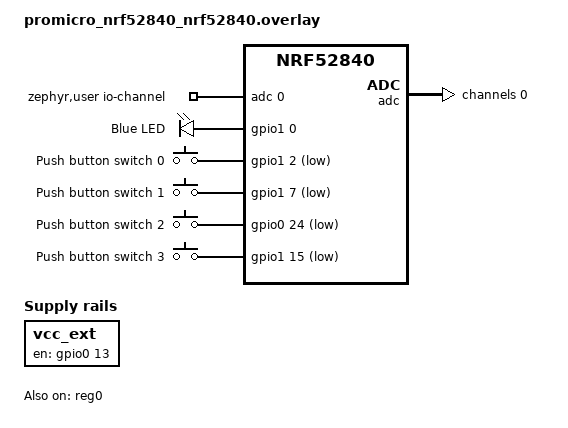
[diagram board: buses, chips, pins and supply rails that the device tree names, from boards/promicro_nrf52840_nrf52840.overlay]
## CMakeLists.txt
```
cmake_minimum_required(VERSION 3.20.0)

find_package(Zephyr REQUIRED HINTS $ENV{ZEPHYR_BASE})

project("zigbee-scene-controller")

include(cmake/GitVersion.cmake)
git_version_info(
  VERSION FW_VERSION
  MAJOR FW_VERSION_MAJOR
  MINOR FW_VERSION_MINOR
  PATCH FW_VERSION_PATCH
  COMMIT_HASH FW_COMMIT_HASH
  IS_DIRTY FW_IS_DIRTY
)

set(FW_VERSION_FULL "${FW_VERSION}+${FW_COMMIT_HASH}")
if(FW_IS_DIRTY)
  string(APPEND FW_VERSION_FULL "-d")
endif()

string(LENGTH "${FW_VERSION_FULL}" FW_VERSION_FULL_LEN)
if(FW_VERSION_FULL_LEN GREATER 16)
  message(WARNING "Version '${FW_VERSION_FULL}' is ${FW_VERSION_FULL_LEN} characters, "
                  "SWBuildID will be truncated to 16")
endif()

execute_process(
  COMMAND ${GIT_EXECUTABLE} -C ${CMAKE_CURRENT_SOURCE_DIR}
          show -s --format=%cd --date=format:%Y%m%d HEAD
  OUTPUT_VARIABLE FW_COMMIT_DATE
  OUTPUT_STRIP_TRAILING_WHITESPACE
  ERROR_QUIET
)

message(STATUS "Application version: ${FW_VERSION_FULL} (${FW_COMMIT_DATE})")

target_compile_definitions(app PRIVATE
  FW_VERSION_MAJOR=${FW_VERSION_MAJOR}
  FW_VERSION_MINOR=${FW_VERSION_MINOR}
  FW_VERSION_PATCH=${FW_VERSION_PATCH}
  FW_VERSION_FULL="${FW_VERSION_FULL}"
  FW_COMMIT_DATE="${FW_COMMIT_DATE}"
)

target_sources(app PRIVATE
  src/main.c
  src/zigbee.c
  src/led.c
  src/battery.c
  src/button.c
  src/secret_buttons.c
)

if(NOT CONFIG_USB_DEVICE_STACK AND NOT CONFIG_USB_DEVICE_STACK_NEXT)
  target_sources(app PRIVATE src/usbd_reset.c)
endif()
```

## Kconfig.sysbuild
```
#
# Copyright (c) 2024 Nordic Semiconductor
#
# SPDX-License-Identifier: LicenseRef-Nordic-5-Clause
#

source "${ZEPHYR_BASE}/share/sysbuild/Kconfig"

config NRF_DEFAULT_IPC_RADIO
    default y

if BOOTLOADER_MCUBOOT

#### DFU multi-image support
config DFU_MULTI_IMAGE_PACKAGE_BUILD
    default y

config DFU_MULTI_IMAGE_PACKAGE_APP
    default y

endif # BOOTLOADER_MCUBOOT
```

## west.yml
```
manifest:
  remotes:
    - name: ncs
      url-base: https://github.com/nrfconnect
  projects:
    - name: zephyr
      url: git@github.com:mczerski/zephyr.git
      revision: a81b9eb5c571412a268d925884be5791423fe825
      west-commands: scripts/west-commands.yml
      import:
        name-allowlist:
          - cmsis_6
          - hal_nordic
          - picolibc
    - name: ncs-zigbee
      repo-path: ncs-zigbee
      remote: ncs
      revision: v1.4.0
      import:
        name-allowlist:
          # Core repositories
          - nrf
          - zephyr
          # Zephyr modules
          - cmsis_6
          - hal_nordic
          - picolibc
          #- zcbor               # used by MCUboot serial recovery / mcumgr
          # Crypto
          - mbedtls
          - oberon-psa-crypto
          - nrfxlib
          # Bootloader
          #- mcuboot
  self:
    path: zigbee-scene-controller
```

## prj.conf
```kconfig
CONFIG_USE_DT_CODE_PARTITION=y
CONFIG_GPIO=y
CONFIG_LED=y
CONFIG_ADC=y
CONFIG_REBOOT=y
CONFIG_RETAINED_MEM=y
CONFIG_INPUT=y
CONFIG_INPUT_LONGPRESS=y
CONFIG_INPUT_DOUBLE_TAP=y

CONFIG_HEAP_MEM_POOL_SIZE=2048
CONFIG_RESET_ON_FATAL_ERROR=y

CONFIG_ZIGBEE_ADD_ON=y
CONFIG_ZIGBEE_APP_UTILS=y
CONFIG_ZIGBEE_ROLE_END_DEVICE=y
CONFIG_ZIGBEE_CHANNEL_SELECTION_MODE_MULTI=y

# This example requires more workqueue stack
CONFIG_SYSTEM_WORKQUEUE_STACK_SIZE=2048

# Enable API for powering down unused RAM parts
CONFIG_RAM_POWER_DOWN_LIBRARY=y

# Networking
CONFIG_NET_IPV6=n
CONFIG_NET_IP_ADDR_CHECK=n
CONFIG_NET_UDP=n

# Logging
CONFIG_SERIAL=n
CONFIG_CONSOLE=n
```

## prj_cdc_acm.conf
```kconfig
CONFIG_USE_DT_CODE_PARTITION=y
CONFIG_GPIO=y
CONFIG_LED=y
CONFIG_ADC=y
CONFIG_REBOOT=y
CONFIG_RETAINED_MEM=y
CONFIG_INPUT=y
CONFIG_INPUT_LONGPRESS=y
CONFIG_INPUT_DOUBLE_TAP=y

CONFIG_HEAP_MEM_POOL_SIZE=2048
CONFIG_RESET_ON_FATAL_ERROR=y

CONFIG_ZIGBEE_ADD_ON=y
CONFIG_ZIGBEE_APP_UTILS=y
CONFIG_ZIGBEE_ROLE_END_DEVICE=y
CONFIG_ZIGBEE_CHANNEL_SELECTION_MODE_MULTI=y
CONFIG_ZBOSS_OSIF_LOG_LEVEL_DBG=n

# This example requires more workqueue stack
CONFIG_SYSTEM_WORKQUEUE_STACK_SIZE=2048

# Enable API for powering down unused RAM parts
CONFIG_RAM_POWER_DOWN_LIBRARY=y

# Networking
CONFIG_NET_IPV6=n
CONFIG_NET_IP_ADDR_CHECK=n
CONFIG_NET_UDP=n

# Logging
CONFIG_UART_INTERRUPT_DRIVEN=y
CONFIG_SERIAL=y
CONFIG_CONSOLE=y
CONFIG_UART_CONSOLE=y
CONFIG_LOG=y
CONFIG_LOG_MODE_MINIMAL=y
```

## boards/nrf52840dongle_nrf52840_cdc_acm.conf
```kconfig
CONFIG_BOARD_SERIAL_BACKEND_CDC_ACM=y
```

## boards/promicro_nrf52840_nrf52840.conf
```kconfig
CONFIG_BOARD_SERIAL_BACKEND_CDC_ACM=n
CONFIG_REGULATOR=y
CONFIG_REGULATOR_FIXED=y

# Build UF2 by default, supported by the Adafruit nRF52 Bootloader
CONFIG_BUILD_OUTPUT_UF2=y
```

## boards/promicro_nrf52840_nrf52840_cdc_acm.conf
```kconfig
CONFIG_BOARD_SERIAL_BACKEND_CDC_ACM=y
CONFIG_REGULATOR=y
CONFIG_REGULATOR_FIXED=y

# Build UF2 by default, supported by the Adafruit nRF52 Bootloader
CONFIG_BUILD_OUTPUT_UF2=y
```

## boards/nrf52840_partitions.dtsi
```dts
/delete-node/ &boot_partition;
/delete-node/ &slot0_partition;
/delete-node/ &slot1_partition;
/delete-node/ &storage_partition;

&flash0 {
	partitions {
		slot0_partition: partition@1000 {
			label = "image-0";
			reg = <0x00001000 0x000d6000>;
		};

		zboss_nvram: partition@d7000 {
			compatible = "zephyr,mapped-partition";
			label = "zboss-nvram";
			reg = <0x000d7000 0x00008000>;
		};

		zboss_product_config: partition@df000 {
			compatible = "zephyr,mapped-partition";
			label = "zboss-product-config";
			reg = <0x000df000 0x00001000>;
		};
	};
};

/* Recreated rather than patched in place: overriding only the reg of
 * memory@20000000 leaves the node name disagreeing with its unit address,
 * which dtc reports as a simple_bus_reg warning.
 */
/delete-node/ &sram0;

/ {
	soc {
		sram0: memory@20000400 {
			compatible = "mmio-sram";
			reg = <0x20000400 0x0003fc00>;
			ranges = <0x0 0x20000400 0x0003fc00>;
			#address-cells = <1>;
			#size-cells = <1>;
		};
	};
};
```

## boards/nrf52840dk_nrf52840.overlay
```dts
/*
 * Copyright (c) 2025 Nordic Semiconductor ASA
 *
 * SPDX-License-Identifier: LicenseRef-Nordic-5-Clause
 */
/ {
    chosen {
        ncs,zigbee-timer = &timer2;
    };
};

&timer2 {
    status = "okay";
};
```

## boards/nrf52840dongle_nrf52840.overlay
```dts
#include "nrf52840_partitions.dtsi"

/ {
    zephyr,user {
        io-channels = <&adc 0>;
    };

    buttons {
        compatible = "gpio-keys";
        button1: button_1 {
            gpios = <&gpio0 31 (GPIO_PULL_UP | GPIO_ACTIVE_LOW)>;
            label = "Push button switch 1";
            zephyr,code = <2>;
        };
        button2: button_2 {
            gpios = <&gpio0 29 (GPIO_PULL_UP | GPIO_ACTIVE_LOW)>;
            label = "Push button switch 2";
            zephyr,code = <3>;
        };
        button3: button_3 {
            gpios = <&gpio0 2 (GPIO_PULL_UP | GPIO_ACTIVE_LOW)>;
            label = "Push button switch 3";
            zephyr,code = <4>;
        };
    };
    longpress {
        compatible = "zephyr,input-longpress";
        input-codes = <1>, <2>, <3>, <4>;
        short-codes = <(0x10 + 1)>, <(0x10 + 2)>, <(0x10 + 3)>, <(0x10 + 4)>;
        long-codes = <(0x20 + 1)>, <(0x20 + 2)>, <(0x20 + 3)>, <(0x20 + 4)>;
        long-delay-ms = <1000>;
        status = "okay";
    };
    double_tap {
        compatible = "zephyr,input-double-tap";
        input-codes = <1>, <2>, <3>, <4>;
        single-tap-codes = <(0x30 + 1)>, <(0x30 + 2)>, <(0x30 + 3)>, <(0x30 + 4)>;
        double-tap-codes = <(0x40 + 1)>, <(0x40 + 2)>, <(0x40 + 3)>, <(0x40 + 4)>;
        double-tap-delay-ms = <250>;
    };
    very_longpress: very_longpress {
        compatible = "zephyr,input-longpress";
        input-codes = <1>, <2>, <3>, <4>;
        long-codes = <(0xF0 + 1)>, <(0xF0 + 2)>, <(0xF0 + 3)>, <(0xF0 + 4)>;
        long-delay-ms = <5000>;
        status = "okay";
    };
};

&adc {
    #address-cells = <1>;
    #size-cells = <0>;

    channel@0 {
        reg = <0>;
        zephyr,gain = "ADC_GAIN_1_6";
        zephyr,reference = "ADC_REF_INTERNAL";
        zephyr,acquisition-time = <ADC_ACQ_TIME(ADC_ACQ_TIME_MICROSECONDS, 40)>;
        zephyr,input-positive = <NRF_SAADC_VDD>;
        zephyr,resolution = <14>;
        zephyr,oversampling = <8>;
    };
};

&button0 {
    zephyr,code = <1>;
};

&gpio0 {
    sense-edge-mask = <0xffffffff>;
};

&gpio1 {
    sense-edge-mask = <0xffffffff>;
};
```

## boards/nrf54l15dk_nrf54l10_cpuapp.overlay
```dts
/*
 * Copyright (c) 2024 Nordic Semiconductor ASA
 *
 * SPDX-License-Identifier: LicenseRef-Nordic-5-Clause
 */


/ {

    chosen {
        ncs,zigbee-timer = &timer20;
    };

    pwmleds {
        compatible = "pwm-leds";
        pwm_led3: pwm_led_3 {
            pwms = <&pwm20 1 PWM_MSEC(20) PWM_POLARITY_NORMAL>;
        };
    };
};

// restore full RRAM and SRAM space - by default some parts are dedicated to FLPR
&cpuapp_rram {
    reg = <0x0 DT_SIZE_K(1022)>;
};

&cpuapp_sram {
    reg = <0x20000000 DT_SIZE_K(192)>;
    ranges = <0x0 0x20000000  DT_SIZE_K(192)>;
};

// TODO: re-enable HWFC once it's fixed
&uart20 {
    /delete-property/ hw-flow-control;
};

&pwm20 {
    status = "okay";
    pinctrl-0 = <&pwm_default>;
    pinctrl-1 = <&pwm_sleep>;
    pinctrl-names = "default", "sleep";
};

&pinctrl {
    pwm_default: pwm_default {
        group1 {
            psels = <NRF_PSEL(PWM_OUT1, 1, 10)>;
        };
    };
    pwm_sleep: pwm_sleep {
        group1 {
            psels = <NRF_PSEL(PWM_OUT1, 1, 10)>;
            low-power-enable;
        };
    };
};

&timer20 {
    status = "okay";
};
```

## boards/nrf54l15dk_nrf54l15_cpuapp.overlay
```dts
/*
 * Copyright (c) 2024 Nordic Semiconductor ASA
 *
 * SPDX-License-Identifier: LicenseRef-Nordic-5-Clause
 */


/ {

    chosen {
        ncs,zigbee-timer = &timer20;
    };

    pwmleds {
        compatible = "pwm-leds";
        pwm_led3: pwm_led_3 {
            pwms = <&pwm20 1 PWM_MSEC(20) PWM_POLARITY_NORMAL>;
        };
    };
};

// restore full RRAM and SRAM space - by default some parts are dedicated to FLRP
&cpuapp_rram {
    reg = <0x0 DT_SIZE_K(1524)>;
};

&cpuapp_sram {
    reg = <0x20000000 DT_SIZE_K(256)>;
    ranges = <0x0 0x20000000  0x40000>;
};

// TODO: re-enable HWFC once it's fixed
&uart20 {
    /delete-property/ hw-flow-control;
};

&pwm20 {
    status = "okay";
    pinctrl-0 = <&pwm_default>;
    pinctrl-1 = <&pwm_sleep>;
    pinctrl-names = "default", "sleep";
};

&pinctrl {
    pwm_default: pwm_default {
        group1 {
            psels = <NRF_PSEL(PWM_OUT1, 1, 10)>;
        };
    };
    pwm_sleep: pwm_sleep {
        group1 {
            psels = <NRF_PSEL(PWM_OUT1, 1, 10)>;
            low-power-enable;
        };
    };
};

&timer20 {
    status = "okay";
};
```

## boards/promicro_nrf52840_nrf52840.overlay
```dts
#include "nrf52840_partitions.dtsi"

/ {
    zephyr,user {
        io-channels = <&adc 0>;
    };
    vcc_ext: regulator-vcc-ext {
        compatible = "regulator-fixed";
        regulator-name = "EXT PWR";
        enable-gpios = <&gpio0 13 GPIO_ACTIVE_HIGH>;
        status = "okay";
    };
    leds {
        compatible = "gpio-leds";
        led1: led_1 {
            gpios = <&gpio1 0 GPIO_ACTIVE_HIGH>;
            label = "Blue LED";
        };
    };
    buttons {
        compatible = "gpio-keys";
        button0: button_0 {
            gpios = <&gpio1 2 (GPIO_PULL_UP | GPIO_ACTIVE_LOW)>;
            label = "Push button switch 0";
            zephyr,code = <1>;
        };
        button1: button_1 {
            gpios = <&gpio1 7 (GPIO_PULL_UP | GPIO_ACTIVE_LOW)>;
            label = "Push button switch 1";
            zephyr,code = <2>;
        };
        button2: button_2 {
            gpios = <&gpio0 24 (GPIO_PULL_UP | GPIO_ACTIVE_LOW)>;
            label = "Push button switch 2";
            zephyr,code = <3>;
        };
        button3: button_3 {
            gpios = <&gpio1 15 (GPIO_PULL_UP | GPIO_ACTIVE_LOW)>;
            label = "Push button switch 3";
            zephyr,code = <4>;
        };
    };
    aliases {
        led1 = &led1;
        sw0 = &button0;
        sw1 = &button1;
        sw2 = &button2;
        sw3 = &button3;
        mcuboot-button0 = &button0;
        bootloader-led0 = &led0;
    };
    longpress {
        compatible = "zephyr,input-longpress";
        input-codes = <1>, <2>, <3>, <4>;
        short-codes = <(0x10 + 1)>, <(0x10 + 2)>, <(0x10 + 3)>, <(0x10 + 4)>;
        long-codes = <(0x20 + 1)>, <(0x20 + 2)>, <(0x20 + 3)>, <(0x20 + 4)>;
        long-delay-ms = <1000>;
        status = "okay";
    };
    double_tap {
        compatible = "zephyr,input-double-tap";
        input-codes = <1>, <2>, <3>, <4>;
        single-tap-codes = <(0x30 + 1)>, <(0x30 + 2)>, <(0x30 + 3)>, <(0x30 + 4)>;
        double-tap-codes = <(0x40 + 1)>, <(0x40 + 2)>, <(0x40 + 3)>, <(0x40 + 4)>;
        double-tap-delay-ms = <250>;
    };
    very_longpress: very_longpress {
        compatible = "zephyr,input-longpress";
        input-codes = <1>, <2>, <3>, <4>;
        long-codes = <(0xF0 + 1)>, <(0xF0 + 2)>, <(0xF0 + 3)>, <(0xF0 + 4)>;
        long-delay-ms = <5000>;
        status = "okay";
    };
};

&adc {
    #address-cells = <1>;
    #size-cells = <0>;

    channel@0 {
        reg = <0>;
        zephyr,gain = "ADC_GAIN_1_2";
        zephyr,reference = "ADC_REF_INTERNAL";
        zephyr,acquisition-time = <ADC_ACQ_TIME(ADC_ACQ_TIME_MICROSECONDS, 40)>;
        zephyr,input-positive = <NRF_SAADC_VDDHDIV5>;
        zephyr,resolution = <14>;
        zephyr,oversampling = <8>;
    };
};

&reg0 {
    status = "okay";
};

&reg1 {
    regulator-initial-mode = <NRF5X_REG_MODE_DCDC>;
};

&gpio0 {
    sense-edge-mask = <0xffffffff>;
};

&gpio1 {
    sense-edge-mask = <0xffffffff>;
};
```

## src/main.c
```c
#include <zephyr/kernel.h>
#include <zephyr/logging/log.h>
#include <zephyr/version.h>
#include <zboss_api.h>

#include "zigbee.h"
#include "battery.h"


LOG_MODULE_REGISTER(app, LOG_LEVEL_INF);

int main(void)
{
    LOG_INF("Starting Zigbee R23 Scene Switch %s", FW_VERSION_FULL);
    LOG_INF("Built from commit of %s, Zephyr %s, ZBOSS %d.%d",
            FW_COMMIT_DATE, KERNEL_VERSION_STRING, ZBOSS_MAJOR, ZBOSS_MINOR);

    configure_battery();
    configure_zigbee();

    LOG_INF("Zigbee R23 Scene Switch started");

    k_sleep(K_FOREVER);
    return 0;
}
```

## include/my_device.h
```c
#define ZB_HA_DECLARE_MY_DEVICE_CLUSTER_LIST(                                   \
      cluster_list_name,                                                        \
      on_off_switch_config_attr_list,                                           \
      basic_attr_list,                                                          \
      identify_attr_list,                                                       \
      power_config_attr_list)                                                   \
      zb_zcl_cluster_desc_t cluster_list_name[] =                               \
      {                                                                         \
          ZB_ZCL_CLUSTER_DESC(                                                  \
              ZB_ZCL_CLUSTER_ID_ON_OFF_SWITCH_CONFIG,                           \
              ZB_ZCL_ARRAY_SIZE(on_off_switch_config_attr_list, zb_zcl_attr_t), \
              (on_off_switch_config_attr_list),                                 \
              ZB_ZCL_CLUSTER_SERVER_ROLE,                                       \
              ZB_ZCL_MANUF_CODE_INVALID                                         \
          ),                                                                    \
          ZB_ZCL_CLUSTER_DESC(                                                  \
              ZB_ZCL_CLUSTER_ID_IDENTIFY,                                       \
              ZB_ZCL_ARRAY_SIZE(identify_attr_list, zb_zcl_attr_t),             \
              (identify_attr_list),                                             \
              ZB_ZCL_CLUSTER_SERVER_ROLE,                                       \
              ZB_ZCL_MANUF_CODE_INVALID                                         \
          ),                                                                    \
          ZB_ZCL_CLUSTER_DESC(                                                  \
              ZB_ZCL_CLUSTER_ID_BASIC,                                          \
              ZB_ZCL_ARRAY_SIZE(basic_attr_list, zb_zcl_attr_t),                \
              (basic_attr_list),                                                \
              ZB_ZCL_CLUSTER_SERVER_ROLE,                                       \
              ZB_ZCL_MANUF_CODE_INVALID                                         \
          ),                                                                    \
          ZB_ZCL_CLUSTER_DESC(                                                  \
              ZB_ZCL_CLUSTER_ID_POWER_CONFIG,                                   \
              ZB_ZCL_ARRAY_SIZE(power_config_attr_list, zb_zcl_attr_t),         \
              (power_config_attr_list),                                         \
              ZB_ZCL_CLUSTER_SERVER_ROLE,                                       \
              ZB_ZCL_MANUF_CODE_INVALID                                         \
          ),                                                                    \
          ZB_ZCL_CLUSTER_DESC(                                                  \
              ZB_ZCL_CLUSTER_ID_ON_OFF,                                         \
              0,                                                                \
              NULL,                                                             \
              ZB_ZCL_CLUSTER_CLIENT_ROLE,                                       \
              ZB_ZCL_MANUF_CODE_INVALID                                         \
          ),                                                                    \
          ZB_ZCL_CLUSTER_DESC(                                                  \
              ZB_ZCL_CLUSTER_ID_SCENES,                                         \
              0,                                                                \
              NULL,                                                             \
              ZB_ZCL_CLUSTER_CLIENT_ROLE,                                       \
              ZB_ZCL_MANUF_CODE_INVALID                                         \
          ),                                                                    \
          ZB_ZCL_CLUSTER_DESC(                                                  \
              ZB_ZCL_CLUSTER_ID_IDENTIFY,                                       \
              0,                                                                \
              NULL,                                                             \
              ZB_ZCL_CLUSTER_CLIENT_ROLE,                                       \
              ZB_ZCL_MANUF_CODE_INVALID                                         \
          ),                                                                    \
          ZB_ZCL_CLUSTER_DESC(                                                  \
              ZB_ZCL_CLUSTER_ID_GROUPS,                                         \
              0,                                                                \
              NULL,                                                             \
              ZB_ZCL_CLUSTER_CLIENT_ROLE,                                       \
              ZB_ZCL_MANUF_CODE_INVALID                                         \
          )                                                                     \
    }

#define ZB_ZCL_DECLARE_MY_DEVICE_SIMPLE_DESC(ep_name, ep_id, in_clust_num, out_clust_num)     \
    ZB_DECLARE_SIMPLE_DESC(in_clust_num, out_clust_num);                                      \
    ZB_AF_SIMPLE_DESC_TYPE(in_clust_num, out_clust_num) simple_desc_##ep_name =               \
    {                                                                                         \
        ep_id,                                                                                \
        ZB_AF_HA_PROFILE_ID,                                                                  \
        ZB_HA_ON_OFF_SWITCH_DEVICE_ID,                                                        \
        ZB_HA_DEVICE_VER_ON_OFF_SWITCH,                                                       \
        0,                                                                                    \
        in_clust_num,                                                                         \
        out_clust_num,                                                                        \
        {                                                                                     \
            ZB_ZCL_CLUSTER_ID_ON_OFF_SWITCH_CONFIG,                                           \
            ZB_ZCL_CLUSTER_ID_IDENTIFY,                                                       \
            ZB_ZCL_CLUSTER_ID_BASIC,                                                          \
            ZB_ZCL_CLUSTER_ID_POWER_CONFIG,                                                   \
            ZB_ZCL_CLUSTER_ID_ON_OFF,                                                         \
            ZB_ZCL_CLUSTER_ID_SCENES,                                                         \
            ZB_ZCL_CLUSTER_ID_IDENTIFY,                                                       \
            ZB_ZCL_CLUSTER_ID_GROUPS,                                                         \
        }                                                                                     \
    }

#define ZB_HA_MY_DEVICE_IN_CLUSTER_NUM 4
#define ZB_HA_MY_DEVICE_OUT_CLUSTER_NUM 4
#define ZB_HA_MY_DEVICE_REPORT_ATTR_COUNT 2

#define ZB_HA_DECLARE_MY_DEVICE_EP(ep_name, ep_id, cluster_list)     \
  ZB_ZCL_DECLARE_MY_DEVICE_SIMPLE_DESC(                              \
      ep_name,                                                       \
      ep_id,                                                         \
      ZB_HA_MY_DEVICE_IN_CLUSTER_NUM,                                \
      ZB_HA_MY_DEVICE_OUT_CLUSTER_NUM);                              \
  ZBOSS_DEVICE_DECLARE_REPORTING_CTX(                                \
      reporting_info## ep_name,                                      \
      ZB_HA_MY_DEVICE_REPORT_ATTR_COUNT);                            \
  ZB_AF_DECLARE_ENDPOINT_DESC(ep_name,                               \
                              ep_id,                                 \
      ZB_AF_HA_PROFILE_ID,                                           \
      0,                                                             \
      NULL,                                                          \
      ZB_ZCL_ARRAY_SIZE(cluster_list, zb_zcl_cluster_desc_t),        \
      cluster_list,                                                  \
      (zb_af_simple_desc_1_1_t*)&simple_desc_##ep_name,              \
      ZB_HA_MY_DEVICE_REPORT_ATTR_COUNT, reporting_info## ep_name,   \
      0, NULL) /* No CVC ctx */

#define ZB_HA_DECLARE_MY_DEVICE_CTX(device_ctx, ep_name) \
  ZBOSS_DECLARE_DEVICE_CTX_1_EP(device_ctx, ep_name)
```

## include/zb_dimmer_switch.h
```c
/*
 * Copyright (c) 2024 Nordic Semiconductor ASA
 *
 * SPDX-License-Identifier: LicenseRef-Nordic-5-Clause
 */

#ifndef ZB_DIMMER_SWITCH_H
#define ZB_DIMMER_SWITCH_H 1

/**
 *  @defgroup ZB_DEFINE_DEVICE_DIMMER_SWITCH Dimmer Switch
 *  @{
 *  @details
 *      - @ref ZB_ZCL_BASIC \n
 *      - @ref ZB_ZCL_IDENTIFY \n
 *      - @ref ZB_ZCL_SCENES \n
 *      - @ref ZB_ZCL_GROUPS \n
 *      - @ref ZB_ZCL_ON_OFF \n
 *      - @ref ZB_ZCL_LEVEL_CONTROL
 */

/** Dimmer Switch Device ID */
#define ZB_DIMMER_SWITCH_DEVICE_ID 0x0104

/** Dimmer Switch device version */
#define ZB_DEVICE_VER_DIMMER_SWITCH 0

/** @cond internals_doc */

/** Dimmer Switch IN (server) clusters number */
#define ZB_DIMMER_SWITCH_IN_CLUSTER_NUM 2

/** Dimmer Switch OUT (client) clusters number */
#define ZB_DIMMER_SWITCH_OUT_CLUSTER_NUM 5

/** Dimmer switch total (IN+OUT) cluster number */
#define ZB_DIMMER_SWITCH_CLUSTER_NUM \
    (ZB_DIMMER_SWITCH_IN_CLUSTER_NUM + ZB_DIMMER_SWITCH_OUT_CLUSTER_NUM)

/** Number of attribute for reporting on Dimmer Switch device */
#define ZB_DIMMER_SWITCH_REPORT_ATTR_COUNT 0

/** @endcond */ /* internals_doc */

/**
 * @brief Declare cluster list for Dimmer Switch device
 * @param cluster_list_name - cluster list variable name
 * @param basic_server_attr_list - attribute list for Basic cluster (server role)
 * @param identify_client_attr_list - attribute list for Identify cluster (client role)
 * @param identify_server_attr_list - attribute list for Identify cluster (server role)
 * @param scenes_client_attr_list - attribute list for Scenes cluster (client role)
 * @param groups_client_attr_list - attribute list for Groups cluster (client role)
 * @param on_off_client_attr_list - attribute list for On/Off cluster (client role)
 * @param level_control_client_attr_list - attribute list for Level Control cluster (client role)
 */
#define ZB_DECLARE_DIMMER_SWITCH_CLUSTER_LIST(                    \
        cluster_list_name,                        \
        basic_server_attr_list,                       \
        identify_client_attr_list,                    \
        identify_server_attr_list,                    \
        scenes_client_attr_list,                      \
        groups_client_attr_list,                      \
        on_off_client_attr_list,                      \
        level_control_client_attr_list)                   \
zb_zcl_cluster_desc_t cluster_list_name[] =                   \
{                                         \
    ZB_ZCL_CLUSTER_DESC(                              \
        ZB_ZCL_CLUSTER_ID_BASIC,                      \
        ZB_ZCL_ARRAY_SIZE(basic_server_attr_list, zb_zcl_attr_t),     \
        (basic_server_attr_list),                     \
        ZB_ZCL_CLUSTER_SERVER_ROLE,                   \
        ZB_ZCL_MANUF_CODE_INVALID                     \
    ),                                    \
    ZB_ZCL_CLUSTER_DESC(                              \
        ZB_ZCL_CLUSTER_ID_IDENTIFY,                   \
        ZB_ZCL_ARRAY_SIZE(identify_server_attr_list, zb_zcl_attr_t),      \
        (identify_server_attr_list),                      \
        ZB_ZCL_CLUSTER_SERVER_ROLE,                   \
        ZB_ZCL_MANUF_CODE_INVALID                     \
    ),                                    \
    ZB_ZCL_CLUSTER_DESC(                              \
        ZB_ZCL_CLUSTER_ID_IDENTIFY,                   \
        ZB_ZCL_ARRAY_SIZE(identify_client_attr_list, zb_zcl_attr_t),      \
        (identify_client_attr_list),                      \
        ZB_ZCL_CLUSTER_CLIENT_ROLE,                   \
        ZB_ZCL_MANUF_CODE_INVALID                     \
    ),                                    \
    ZB_ZCL_CLUSTER_DESC(                              \
        ZB_ZCL_CLUSTER_ID_SCENES,                     \
        ZB_ZCL_ARRAY_SIZE(scenes_client_attr_list, zb_zcl_attr_t),    \
        (scenes_client_attr_list),                    \
        ZB_ZCL_CLUSTER_CLIENT_ROLE,                   \
        ZB_ZCL_MANUF_CODE_INVALID                     \
    ),                                    \
    ZB_ZCL_CLUSTER_DESC(                              \
        ZB_ZCL_CLUSTER_ID_GROUPS,                     \
        ZB_ZCL_ARRAY_SIZE(groups_client_attr_list, zb_zcl_attr_t),    \
        (groups_client_attr_list),                    \
        ZB_ZCL_CLUSTER_CLIENT_ROLE,                   \
        ZB_ZCL_MANUF_CODE_INVALID                     \
    ),                                    \
    ZB_ZCL_CLUSTER_DESC(                              \
        ZB_ZCL_CLUSTER_ID_ON_OFF,                     \
        ZB_ZCL_ARRAY_SIZE(on_off_client_attr_list, zb_zcl_attr_t),    \
        (on_off_client_attr_list),                    \
        ZB_ZCL_CLUSTER_CLIENT_ROLE,                   \
        ZB_ZCL_MANUF_CODE_INVALID                     \
    ),                                    \
    ZB_ZCL_CLUSTER_DESC(                              \
        ZB_ZCL_CLUSTER_ID_LEVEL_CONTROL,                  \
        ZB_ZCL_ARRAY_SIZE(level_control_client_attr_list, zb_zcl_attr_t), \
        (level_control_client_attr_list),                 \
        ZB_ZCL_CLUSTER_CLIENT_ROLE,                   \
        ZB_ZCL_MANUF_CODE_INVALID                     \
    )                                     \
}


/** @cond internals_doc */
/**
 * @brief Declare simple descriptor for Dimmer switch device
 * @param ep_name - endpoint variable name
 * @param ep_id - endpoint ID
 * @param in_clust_num - number of supported input clusters
 * @param out_clust_num - number of supported output clusters
 */
#define ZB_ZCL_DECLARE_DIMMER_SWITCH_SIMPLE_DESC(                   \
    ep_name, ep_id, in_clust_num, out_clust_num)                    \
    ZB_DECLARE_SIMPLE_DESC(in_clust_num, out_clust_num);                \
    ZB_AF_SIMPLE_DESC_TYPE(in_clust_num, out_clust_num) simple_desc_##ep_name = \
    {                                       \
        ep_id,                                  \
        ZB_AF_HA_PROFILE_ID,                            \
        ZB_DIMMER_SWITCH_DEVICE_ID,                     \
        ZB_DEVICE_VER_DIMMER_SWITCH,                        \
        0,                                  \
        in_clust_num,                               \
        out_clust_num,                              \
        {                                   \
            ZB_ZCL_CLUSTER_ID_BASIC,                    \
            ZB_ZCL_CLUSTER_ID_IDENTIFY,                 \
            ZB_ZCL_CLUSTER_ID_IDENTIFY,                 \
            ZB_ZCL_CLUSTER_ID_SCENES,                   \
            ZB_ZCL_CLUSTER_ID_GROUPS,                   \
            ZB_ZCL_CLUSTER_ID_ON_OFF,                   \
            ZB_ZCL_CLUSTER_ID_LEVEL_CONTROL,                \
        }                                   \
    }

/** @endcond */ /* internals_doc */

/**
 * @brief Declare endpoint for Dimmer Switch device
 * @param ep_name - endpoint variable name
 * @param ep_id - endpoint ID
 * @param cluster_list - endpoint cluster list
 */
#define ZB_DECLARE_DIMMER_SWITCH_EP(ep_name, ep_id, cluster_list)             \
    ZB_ZCL_DECLARE_DIMMER_SWITCH_SIMPLE_DESC(ep_name, ep_id,              \
          ZB_DIMMER_SWITCH_IN_CLUSTER_NUM, ZB_DIMMER_SWITCH_OUT_CLUSTER_NUM); \
                                              \
    ZB_AF_DECLARE_ENDPOINT_DESC(ep_name, ep_id, ZB_AF_HA_PROFILE_ID, 0, NULL,     \
        ZB_ZCL_ARRAY_SIZE(cluster_list, zb_zcl_cluster_desc_t), cluster_list, \
        (zb_af_simple_desc_1_1_t *)&simple_desc_##ep_name,            \
        0, NULL, /* No reporting ctx */                       \
        0, NULL) /* No CVC ctx */

/** @} */

#endif /* ZB_DIMMER_SWITCH_H */
```

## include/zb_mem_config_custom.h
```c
/*
 * Copyright (c) 2024 Nordic Semiconductor ASA
 *
 * SPDX-License-Identifier: LicenseRef-Nordic-5-Clause
 */

#ifndef ZB_MEM_CONFIG_CUSTOM_H
#define ZB_MEM_CONFIG_CUSTOM_H 1


#define ZB_CONFIG_ROLE_ZED
#define ZB_CONFIG_OVERALL_NETWORK_SIZE 16

/**
 * Light routing and application traffic from/to that device.
 */
#define ZB_CONFIG_LIGHT_TRAFFIC

/**
 * Simple user's application at that device: not too many relations
 * to other devices.
 */
#define ZB_CONFIG_APPLICATION_SIMPLE

/**
 * The below section is for advanced users.
 * Before modifying any values, please make sure you fully understand the
 * impact, for example by reading zb_mem_config_common.h
 */
#include "zb_mem_config_common.h"

/* Memory context definitions. */
#include "zb_mem_config_context.h"

#endif /* ZB_MEM_CONFIG_CUSTOM_H */
```

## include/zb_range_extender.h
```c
/*
 * Copyright (c) 2024 Nordic Semiconductor ASA
 *
 * SPDX-License-Identifier: LicenseRef-Nordic-5-Clause
 */

#ifndef ZB_RANGE_EXTENDER_H
#define ZB_RANGE_EXTENDER_H 1

/**
 *  @defgroup ZB_DEFINE_DEVICE_RANGE_EXTENDER Range Extender
 *  @{
 *  @details
 *      - @ref ZB_ZCL_IDENTIFY \n
 *      - @ref ZB_ZCL_BASIC
 */

/** Range Extender Device ID*/
#define ZB_RANGE_EXTENDER_DEVICE_ID 0x0008

/** Range extender device version */
#define ZB_DEVICE_VER_RANGE_EXTENDER 0

/** @cond internals_doc */

/** Range extender IN (server) clusters number */
#define ZB_RANGE_EXTENDER_IN_CLUSTER_NUM 2

/** Range extender OUT (client) clusters number */
#define ZB_RANGE_EXTENDER_OUT_CLUSTER_NUM 0

#define ZB_RANGE_EXTENDER_CLUSTER_NUM \
    (ZB_RANGE_EXTENDER_IN_CLUSTER_NUM + ZB_RANGE_EXTENDER_OUT_CLUSTER_NUM)

/** Number of attribute for reporting on Range extender device */
#define ZB_RANGE_EXTENDER_REPORT_ATTR_COUNT 0

/** @endcond */ /* internals_doc */

/**
 * @brief Declare cluster list for Range extender device
 * @param cluster_list_name - cluster list variable name
 * @param basic_attr_list - attribute list for Basic cluster
 * @param identify_attr_list - attribute list for Identify cluster
 */
#define ZB_DECLARE_RANGE_EXTENDER_CLUSTER_LIST(               \
        cluster_list_name,                    \
        basic_attr_list,                      \
        identify_attr_list)                   \
zb_zcl_cluster_desc_t cluster_list_name[] =               \
{                                     \
    ZB_ZCL_CLUSTER_DESC(                          \
        ZB_ZCL_CLUSTER_ID_IDENTIFY,               \
        ZB_ZCL_ARRAY_SIZE(identify_attr_list, zb_zcl_attr_t), \
        (identify_attr_list),                     \
        ZB_ZCL_CLUSTER_SERVER_ROLE,               \
        ZB_ZCL_MANUF_CODE_INVALID                 \
    ),                                \
    ZB_ZCL_CLUSTER_DESC(                          \
        ZB_ZCL_CLUSTER_ID_BASIC,                  \
        ZB_ZCL_ARRAY_SIZE(basic_attr_list, zb_zcl_attr_t),    \
        (basic_attr_list),                    \
        ZB_ZCL_CLUSTER_SERVER_ROLE,               \
        ZB_ZCL_MANUF_CODE_INVALID                 \
    )                                 \
}

/** @cond internals_doc */

/**
 * @brief Declare simple descriptor for Range extender device
 * @param ep_name - endpoint variable name
 * @param ep_id - endpoint ID
 * @param in_clust_num - number of supported input clusters
 * @param out_clust_num - number of supported output clusters
 */
#define ZB_ZCL_DECLARE_RANGE_EXTENDER_SIMPLE_DESC(ep_name, ep_id, in_clust_num, out_clust_num) \
    ZB_DECLARE_SIMPLE_DESC(in_clust_num, out_clust_num);                       \
    ZB_AF_SIMPLE_DESC_TYPE(in_clust_num, out_clust_num) simple_desc_##ep_name =        \
    {                                              \
        ep_id,                                         \
        ZB_AF_HA_PROFILE_ID,                                   \
        ZB_RANGE_EXTENDER_DEVICE_ID,                               \
        ZB_DEVICE_VER_RANGE_EXTENDER,                              \
        0,                                         \
        in_clust_num,                                      \
        out_clust_num,                                     \
        {                                          \
            ZB_ZCL_CLUSTER_ID_BASIC,                           \
            ZB_ZCL_CLUSTER_ID_IDENTIFY                         \
        }                                          \
    }

/** @endcond */ /* internals_doc */

/**
 * @brief Declare endpoint for Range extender device
 * @param ep_name - endpoint variable name
 * @param ep_id - endpoint ID
 * @param cluster_list - endpoint cluster list
 */
#define ZB_DECLARE_RANGE_EXTENDER_EP(ep_name, ep_id, cluster_list)            \
    ZB_ZCL_DECLARE_RANGE_EXTENDER_SIMPLE_DESC(ep_name, ep_id,             \
        ZB_RANGE_EXTENDER_IN_CLUSTER_NUM, ZB_RANGE_EXTENDER_OUT_CLUSTER_NUM); \
    ZB_AF_DECLARE_ENDPOINT_DESC(ep_name, ep_id, ZB_AF_HA_PROFILE_ID, 0, NULL,     \
        ZB_ZCL_ARRAY_SIZE(cluster_list, zb_zcl_cluster_desc_t), cluster_list, \
            (zb_af_simple_desc_1_1_t *)&simple_desc_##ep_name,        \
            0, NULL, /* No reporting ctx */                   \
            0, NULL) /* No CVC ctx */

/*! @} */

#endif /* ZB_RANGE_EXTENDER_H */
```

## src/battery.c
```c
#include <zephyr/logging/log.h>
#include <zephyr/drivers/adc.h>
#include <zephyr/dt-bindings/adc/nrf-saadc.h>
#include <zboss_api.h>
#include "zigbee.h"


#define BATTERY_INTERVAL           30*60000

/* VDDHDIV5 measures the battery through the internal 1/5 divider, plain VDD
 * measures the regulated rail, so each has its own empty/full range */
#define VDDHDIV5_RATIO             5
#define VDDH_FULL_MV               4200
#define VDDH_EMPTY_MV              3000
#define VDD_FULL_MV                3200
#define VDD_EMPTY_MV               2000
/* charge level is reported in decipercents */
#define LEVEL_FULL_DP              1000

LOG_MODULE_REGISTER(battery, LOG_LEVEL_INF);

#define DT_SPEC_AND_COMMA(node_id, prop, idx) ADC_DT_SPEC_GET_BY_IDX(node_id, idx),

/* Data of ADC io-channels specified in devicetree. */
static const struct adc_dt_spec adc_channels[] = {
    DT_FOREACH_PROP_ELEM(DT_PATH(zephyr_user), io_channels, DT_SPEC_AND_COMMA)
};

void battery_alarm_handler(uint8_t)
{
    ZB_SCHEDULE_APP_ALARM(battery_alarm_handler, ZB_ALARM_ANY_PARAM, ZB_MILLISECONDS_TO_BEACON_INTERVAL(BATTERY_INTERVAL));

    int16_t buf;
    struct adc_sequence sequence = {
        .buffer = &buf,
        /* buffer size in bytes, not number of samples */
        .buffer_size = sizeof(buf),
    };
    adc_sequence_init_dt(&adc_channels[0], &sequence);
    int err = adc_read_dt(&adc_channels[0], &sequence);
    if (err < 0) {
        LOG_ERR("Could not read (%d)", err);
        return;
    }
    int32_t val_mv = buf;
    adc_raw_to_millivolts_dt(&adc_channels[0], &val_mv);
    if (adc_channels[0].channel_cfg.input_positive == NRF_SAADC_VDDHDIV5) {
        val_mv *= VDDHDIV5_RATIO;
    }
    LOG_INF("battery read value: %d", val_mv);

    int32_t max_mv = adc_channels[0].channel_cfg.input_positive == NRF_SAADC_VDDHDIV5 ? VDDH_FULL_MV : VDD_FULL_MV;
    int32_t min_mv = adc_channels[0].channel_cfg.input_positive == NRF_SAADC_VDDHDIV5 ? VDDH_EMPTY_MV : VDD_EMPTY_MV;
    // decy-percents
    int32_t level_dp = CLAMP(LEVEL_FULL_DP * (val_mv - min_mv) / (max_mv - min_mv), 0, LEVEL_FULL_DP);
    set_battery_state(val_mv, level_dp);
}

void configure_battery(void)
{
    int err;
    /* Configure channels individually prior to sampling. */
    for (size_t i = 0U; i < ARRAY_SIZE(adc_channels); i++) {
        if (!adc_is_ready_dt(&adc_channels[i])) {
            LOG_ERR("ADC controller device %s not ready\n", adc_channels[i].dev->name);
            return;
        }

        err = adc_channel_setup_dt(&adc_channels[i]);
        if (err < 0) {
            LOG_ERR("Could not setup channel #%d (%d)\n", i, err);
            return;
        }
    }
}
```

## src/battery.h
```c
#pragma once


void configure_battery(void);
void battery_alarm_handler(uint8_t);
```

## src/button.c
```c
#include <zephyr/logging/log.h>
#include <zephyr/input/input.h>
#include <zboss_api.h>
#include "zigbee.h"
#include "scene_codes.h"


#define LONG_PRESS_INTERVAL 1000

LOG_MODULE_REGISTER(button, LOG_LEVEL_INF);

static int pressed_buttons = 0;

static void continous_press_timer(zb_uint8_t scene_id)
{
    if (__builtin_popcount(pressed_buttons) > 1) {
        return;
    }
    ZB_SCHEDULE_APP_ALARM(continous_press_timer, scene_id, ZB_MILLISECONDS_TO_BEACON_INTERVAL(LONG_PRESS_INTERVAL));
    send_scene(scene_id);
}

static void button_handler(struct input_event *evt, void *user_data)
{
    LOG_INF("Button event. type=%d, code=0x%x, value=%d", evt->type, evt->code, evt->value);

    if (evt->type != INPUT_EV_KEY) {
        return;
    }
    uint16_t scene_type = evt->code >> SCENE_TYPE_SHIFT;
    uint8_t button = evt->code & BUTTON_MASK;
    bool block = false;
    // do not trigger on multiple keys
    if (scene_type == SCENE_TYPE_KEY && evt->value == BUTTON_PRESSED) {
        pressed_buttons |= (1 << (button - 1));
    }
    if (__builtin_popcount(pressed_buttons) > 1) {
        block = true;
    }
    if (scene_type == SCENE_TYPE_KEY && evt->value == BUTTON_RELEASED) {
        pressed_buttons &= ~(1 << (button - 1));
    }
    if (block) {
        return;
    }

    uint16_t scene_id = SCENE_NONE;
    if (
        (scene_type == SCENE_TYPE_LONG && evt->value == BUTTON_PRESSED) || // long press activation
        (scene_type == SCENE_TYPE_SINGLE && evt->value == BUTTON_RELEASED) || // single press
        (scene_type == SCENE_TYPE_DOUBLE && evt->value == BUTTON_RELEASED) // double press
    ) {
        scene_id = evt->code;
        if (scene_type == SCENE_TYPE_LONG && evt->value == BUTTON_PRESSED) {
            ZB_SCHEDULE_APP_ALARM(
                continous_press_timer,
                SCENE_CODE(SCENE_TYPE_REPEAT, scene_id & BUTTON_MASK),
                ZB_MILLISECONDS_TO_BEACON_INTERVAL(LONG_PRESS_INTERVAL)
            );
        }
    }
    else if (scene_type == SCENE_TYPE_LONG && evt->value == BUTTON_RELEASED) {
        ZB_SCHEDULE_APP_ALARM_CANCEL(continous_press_timer, ZB_ALARM_ANY_PARAM);
    }

    send_scene(scene_id);
}

INPUT_CALLBACK_DEFINE(NULL, button_handler, NULL);
```

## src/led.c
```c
#include "led.h"
#include <zephyr/drivers/led.h>
#include <zboss_api.h>


static const struct device * led_dev = DEVICE_DT_GET(DT_PARENT(DT_ALIAS(led1)));
static uint32_t led_idx = DT_NODE_CHILD_IDX(DT_ALIAS(led1));
static uint32_t on_time = 0;
static uint32_t off_time = 0;

static void do_blink_state_led(uint8_t count);

void off_state_led(uint8_t count)
{
    ZB_SCHEDULE_APP_ALARM_CANCEL(do_blink_state_led, ZB_ALARM_ANY_PARAM);
    ZB_SCHEDULE_APP_ALARM_CANCEL(off_state_led, ZB_ALARM_ANY_PARAM);
    led_off(led_dev, led_idx);
    if (count > 1) {
        ZB_SCHEDULE_APP_ALARM(
            do_blink_state_led,
            count == LED_BLINK_FOREVER ? LED_BLINK_FOREVER : count - 1,
            ZB_MILLISECONDS_TO_BEACON_INTERVAL(off_time)
        );
    }
}

static void do_blink_state_led(uint8_t count)
{
    led_on(led_dev, led_idx);
    ZB_SCHEDULE_APP_ALARM(off_state_led, count, ZB_MILLISECONDS_TO_BEACON_INTERVAL(on_time));
}

void blink_state_led(uint32_t on_ms, uint32_t off_ms, uint8_t count)
{
    ZB_SCHEDULE_APP_ALARM_CANCEL(do_blink_state_led, ZB_ALARM_ANY_PARAM);
    ZB_SCHEDULE_APP_ALARM_CANCEL(off_state_led, ZB_ALARM_ANY_PARAM);
    on_time = on_ms;
    off_time = off_ms;
    do_blink_state_led(count);
}
```

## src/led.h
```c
#pragma once
#include <stdint.h>
#include <stdbool.h>


#define LED_BLINK_FOREVER   0xFF

void off_state_led(uint8_t);
void blink_state_led(uint32_t on_ms, uint32_t off_ms, uint8_t count);
```

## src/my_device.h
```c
#define ZB_HA_DECLARE_MY_DEVICE_CLUSTER_LIST(                                   \
      cluster_list_name,                                                        \
      basic_attr_list,                                                          \
      identify_attr_list,                                                       \
      power_config_attr_list)                                                   \
      zb_zcl_cluster_desc_t cluster_list_name[] =                               \
      {                                                                         \
          ZB_ZCL_CLUSTER_DESC(                                                  \
              ZB_ZCL_CLUSTER_ID_IDENTIFY,                                       \
              ZB_ZCL_ARRAY_SIZE(identify_attr_list, zb_zcl_attr_t),             \
              (identify_attr_list),                                             \
              ZB_ZCL_CLUSTER_SERVER_ROLE,                                       \
              ZB_ZCL_MANUF_CODE_INVALID                                         \
          ),                                                                    \
          ZB_ZCL_CLUSTER_DESC(                                                  \
              ZB_ZCL_CLUSTER_ID_BASIC,                                          \
              ZB_ZCL_ARRAY_SIZE(basic_attr_list, zb_zcl_attr_t),                \
              (basic_attr_list),                                                \
              ZB_ZCL_CLUSTER_SERVER_ROLE,                                       \
              ZB_ZCL_MANUF_CODE_INVALID                                         \
          ),                                                                    \
          ZB_ZCL_CLUSTER_DESC(                                                  \
              ZB_ZCL_CLUSTER_ID_POWER_CONFIG,                                   \
              ZB_ZCL_ARRAY_SIZE(power_config_attr_list, zb_zcl_attr_t),         \
              (power_config_attr_list),                                         \
              ZB_ZCL_CLUSTER_SERVER_ROLE,                                       \
              ZB_ZCL_MANUF_CODE_INVALID                                         \
          ),                                                                    \
          ZB_ZCL_CLUSTER_DESC(                                                  \
              ZB_ZCL_CLUSTER_ID_SCENES,                                         \
              0,                                                                \
              NULL,                                                             \
              ZB_ZCL_CLUSTER_CLIENT_ROLE,                                       \
              ZB_ZCL_MANUF_CODE_INVALID                                         \
          ),                                                                    \
          ZB_ZCL_CLUSTER_DESC(                                                  \
              ZB_ZCL_CLUSTER_ID_IDENTIFY,                                       \
              0,                                                                \
              NULL,                                                             \
              ZB_ZCL_CLUSTER_CLIENT_ROLE,                                       \
              ZB_ZCL_MANUF_CODE_INVALID                                         \
          ),                                                                    \
          ZB_ZCL_CLUSTER_DESC(                                                  \
              ZB_ZCL_CLUSTER_ID_GROUPS,                                         \
              0,                                                                \
              NULL,                                                             \
              ZB_ZCL_CLUSTER_CLIENT_ROLE,                                       \
              ZB_ZCL_MANUF_CODE_INVALID                                         \
          )                                                                     \
    }

#define ZB_ZCL_DECLARE_MY_DEVICE_SIMPLE_DESC(ep_name, ep_id, in_clust_num, out_clust_num)     \
    ZB_DECLARE_SIMPLE_DESC(in_clust_num, out_clust_num);                                      \
    ZB_AF_SIMPLE_DESC_TYPE(in_clust_num, out_clust_num) simple_desc_##ep_name =               \
    {                                                                                         \
        ep_id,                                                                                \
        ZB_AF_HA_PROFILE_ID,                                                                  \
        ZB_HA_SCENE_SELECTOR_DEVICE_ID,                                                       \
        0,                                                                                    \
        0,                                                                                    \
        in_clust_num,                                                                         \
        out_clust_num,                                                                        \
        {                                                                                     \
            ZB_ZCL_CLUSTER_ID_IDENTIFY,                                                       \
            ZB_ZCL_CLUSTER_ID_BASIC,                                                          \
            ZB_ZCL_CLUSTER_ID_POWER_CONFIG,                                                   \
            ZB_ZCL_CLUSTER_ID_SCENES,                                                         \
            ZB_ZCL_CLUSTER_ID_IDENTIFY,                                                       \
            ZB_ZCL_CLUSTER_ID_GROUPS,                                                         \
        }                                                                                     \
    }

#define ZB_HA_MY_DEVICE_IN_CLUSTER_NUM 3
#define ZB_HA_MY_DEVICE_OUT_CLUSTER_NUM 3
#define ZB_HA_MY_DEVICE_REPORT_ATTR_COUNT 2

#define ZB_HA_DECLARE_MY_DEVICE_EP(ep_name, ep_id, cluster_list)     \
  ZB_ZCL_DECLARE_MY_DEVICE_SIMPLE_DESC(                              \
      ep_name,                                                       \
      ep_id,                                                         \
      ZB_HA_MY_DEVICE_IN_CLUSTER_NUM,                                \
      ZB_HA_MY_DEVICE_OUT_CLUSTER_NUM);                              \
  ZBOSS_DEVICE_DECLARE_REPORTING_CTX(                                \
      reporting_info## ep_name,                                      \
      ZB_HA_MY_DEVICE_REPORT_ATTR_COUNT);                            \
  ZB_AF_DECLARE_ENDPOINT_DESC(ep_name,                               \
                              ep_id,                                 \
      ZB_AF_HA_PROFILE_ID,                                           \
      0,                                                             \
      NULL,                                                          \
      ZB_ZCL_ARRAY_SIZE(cluster_list, zb_zcl_cluster_desc_t),        \
      cluster_list,                                                  \
      (zb_af_simple_desc_1_1_t*)&simple_desc_##ep_name,              \
      ZB_HA_MY_DEVICE_REPORT_ATTR_COUNT, reporting_info## ep_name,   \
      0, NULL) /* No CVC ctx */

#define ZB_HA_DECLARE_MY_DEVICE_CTX(device_ctx, ep_name) \
  ZBOSS_DECLARE_DEVICE_CTX_1_EP(device_ctx, ep_name)
```
